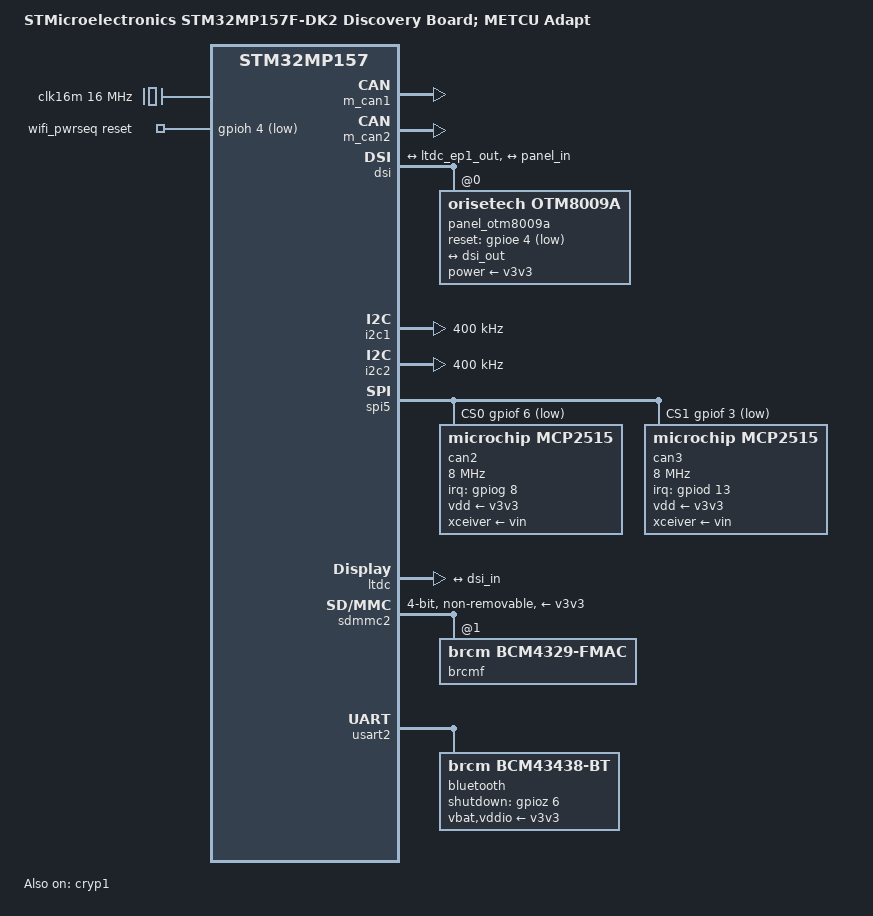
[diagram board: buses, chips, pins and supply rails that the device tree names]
// SPDX-License-Identifier: (GPL-2.0+ OR BSD-3-Clause)
/*
 * Copyright (C) STMicroelectronics 2019 - All Rights Reserved
 * Author: Alexandre Torgue <alexandre.torgue@st.com> for STMicroelectronics.
 */

/dts-v1/;

#include "stm32mp157.dtsi"
#include "stm32mp15xf.dtsi"
#include "stm32mp15-pinctrl.dtsi"
#include "stm32mp15xxac-pinctrl.dtsi"
#include "stm32mp15xx-dkx.dtsi"
#include <dt-bindings/rtc/rtc-stm32.h>

/ {
	model = "STMicroelectronics STM32MP157F-DK2 Discovery Board; METCU Adapt";
	compatible = "st,stm32mp157f-dk2", "st,stm32mp157";

	aliases {
		serial3 = &usart2;
	};

	chosen {
		#address-cells = <1>;
		#size-cells = <1>;
		ranges;
		stdout-path = "serial0:115200n8";

		framebuffer {
			compatible = "simple-framebuffer";
			clocks = <&rcc LTDC_PX>;
			status = "disabled";
		};
	};
	
	clocks {
		/* 16MHz external crystal oscillator */
		clk16m: mcp251x_osc {
			#clock-cells = <0>;
			compatible = "fixed-clock";
			clock-frequency = <16000000>;
		};
	};

	wifi_pwrseq: wifi-pwrseq {
		compatible = "mmc-pwrseq-simple";
		reset-gpios = <&gpioh 4 GPIO_ACTIVE_LOW>;
	};
};

&m_can1 {
	pinctrl-names = "default", "sleep";         /* configure pinctrl modes for m_can1 */
	pinctrl-0 = <&m_can1_pins_b>;               /* configure m_can1_pins_b as default pinctrl configuration for m_can1 */
	pinctrl-1 = <&m_can1_sleep_pins_b>;         /* configure m_can1_sleep_pins_b as sleep pinctrl configuration for m_can1 */
	status = "okay";                            /* enable m_can1 */ 
}; 

&m_can2 {
	pinctrl-names = "default", "sleep";         /* configure pinctrl modes for m_can2 */
	pinctrl-0 = <&m_can2_pins_b>;               /* configure m_can2_pins_a as default pinctrl configuration for m_can2 */
	pinctrl-1 = <&m_can2_sleep_pins_b>;         /* configure m_can2_sleep_pins_a as sleep pinctrl configuration for m_can2 */
	status = "okay";                            /* enable m_can2 */ 
}; 

&cryp1 {
	status = "okay";
};

&dsi {
	status = "okay";

	ports {
		port@0 {
			reg = <0>;
			dsi_in: endpoint {
				remote-endpoint = <&ltdc_ep1_out>;
			};
		};

		port@1 {
			reg = <1>;
			dsi_out: endpoint {
				remote-endpoint = <&panel_in>;
			};
		};
	};

	panel_otm8009a: panel-otm8009a@0 {
		compatible = "orisetech,otm8009a";
		reg = <0>;
		reset-gpios = <&gpioe 4 GPIO_ACTIVE_LOW>;
		power-supply = <&v3v3>;
		status = "okay";

		port {
			panel_in: endpoint {
				remote-endpoint = <&dsi_out>;
			};
		};
	};
};

&i2c1 {
	pinctrl-names = "default", "sleep";
	pinctrl-0 = <&i2c1_pins_a>;
	pinctrl-1 = <&i2c1_sleep_pins_a>;
	i2c-scl-rising-time-ns = <100>;
	i2c-scl-falling-time-ns = <7>;
	clock-frequency = <400000>;
	status = "okay";
};

&i2c2 {
	pinctrl-names = "default", "sleep";
	pinctrl-0 = <&i2c2_pins_d>;
	pinctrl-1 = <&i2c2_sleep_pins_d>;
	i2c-scl-rising-time-ns = <100>;
	i2c-scl-falling-time-ns = <7>;
	clock-frequency = <400000>;
	status = "okay";
};

&spi5 {
	pinctrl-names = "default", "sleep";
	pinctrl-0 = <&spi5_pins_a>;
	pinctrl-1 = <&spi5_sleep_pins_a>;
	cs-gpios = <&gpiof 6 (GPIO_ACTIVE_LOW | GPIO_PULL_UP)>, <&gpiof 3 (GPIO_ACTIVE_LOW | GPIO_PULL_UP)>;
	status = "okay";
	
	can2: can@0 {
		compatible = "microchip,mcp2515";
		reg = <0>;
		clocks = <&clk16m>;
		interrupt-parent = <&gpiog>;
		interrupts = <8 IRQ_TYPE_LEVEL_LOW>;
		vdd-supply = <&v3v3>; //SPECIFIC TO DEV BOARD AND ST PMIC
		xceiver-supply = <&vin>;  //SPECIFIC TO DEV BOARD AND ST PMIC
		gpio-controller;
		#gpio-cells = <2>;
		spi-max-frequency = <8000000>;
	};
	
	can3: can@1 {
		compatible = "microchip,mcp2515";
		reg = <1>;
		clocks = <&clk16m>;
		interrupt-parent = <&gpiod>;
		interrupts = <13 IRQ_TYPE_LEVEL_LOW>;
		vdd-supply = <&v3v3>; //SPECIFIC TO DEV BOARD AND ST PMIC
		xceiver-supply = <&vin>;  //SPECIFIC TO DEV BOARD AND ST PMIC
		gpio-controller;
		#gpio-cells = <2>;
		spi-max-frequency = <8000000>;
	};
};

&ltdc {
	status = "okay";

	port {
		ltdc_ep1_out: endpoint@1 {
			reg = <1>;
			remote-endpoint = <&dsi_in>;
		};
	};
};

&rtc {
	st,lsco = <RTC_OUT2_RMP>;
	pinctrl-0 = <&rtc_out2_rmp_pins_a>;
	pinctrl-names = "default";
};

/* Wifi */
&sdmmc2 {
	arm,primecell-periphid = <0x10153180>;
	pinctrl-names = "default", "opendrain", "sleep";
	pinctrl-0 = <&sdmmc2_b4_pins_a>;
	pinctrl-1 = <&sdmmc2_b4_od_pins_a>;
	pinctrl-2 = <&sdmmc2_b4_sleep_pins_a>;
	non-removable;
	st,neg-edge;
	bus-width = <4>;
	vmmc-supply = <&v3v3>;
	mmc-pwrseq = <&wifi_pwrseq>;
	#address-cells = <1>;
	#size-cells = <0>;
	status = "okay";

	brcmf: bcrmf@1 {
		reg = <1>;
		compatible = "brcm,bcm4329-fmac";
	};
};

/* Bluetooth */
&usart2 {
	pinctrl-names = "default", "sleep", "idle";
	pinctrl-0 = <&usart2_pins_c>;
	pinctrl-1 = <&usart2_sleep_pins_c>;
	pinctrl-2 = <&usart2_idle_pins_c>;
	uart-has-rtscts;
	status = "okay";

	bluetooth {
		shutdown-gpios = <&gpioz 6 GPIO_ACTIVE_HIGH>;
		compatible = "brcm,bcm43438-bt";
		max-speed = <3000000>;
		vbat-supply = <&v3v3>;
		vddio-supply = <&v3v3>;
	};
};
